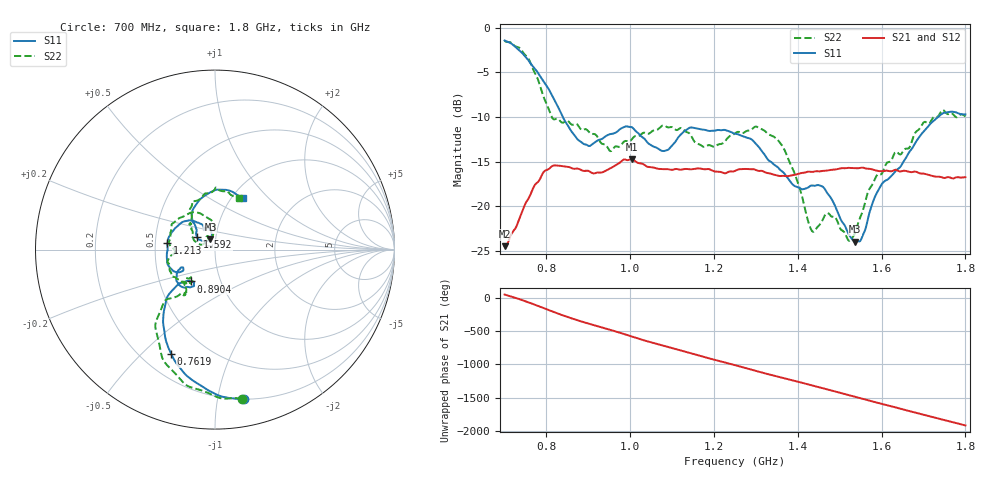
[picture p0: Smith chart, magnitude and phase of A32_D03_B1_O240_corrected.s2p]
! Created with skrf 1.9.0 (http://scikit-rf.org).
# Hz S RI R 50.0
!freq ReS11 ImS11 ReS21 ImS21 ReS12 ImS12 ReS22 ImS22
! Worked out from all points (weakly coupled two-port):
!   1601 points, 700 MHz to 1.8 GHz, reference 50 ohm
!   highest |S21| = -14.73 dB at 1.003 GHz (marker M1); lowest = -24.5 dB at 701.4 MHz (marker M2)
!   lowest |S11| = -24.0 dB at 1.536 GHz (marker M3), VSWR 1.13, Z = 47.2 + j5.49 ohm
!   |S11| at or under -10 dB: 839 MHz to 1.734 GHz (895.4 MHz wide, 69.6 % of centre)
!   |S22| runs from -23.9 to -1.5 dB; largest |S21 - S12| = 0.0035
!   S11 on the Smith chart (normalised r, x): 700 MHz: 0.20, -1.19; 761.9 MHz: 0.32, -0.62; 890.4 MHz: 0.72, -0.27; 1.213 GHz: 0.58, +0.04; 1.592 GHz: 0.81, +0.12; 1.8 GHz: 1.12, +0.72
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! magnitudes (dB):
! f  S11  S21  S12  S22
! 700 MHz  -1.4  -24.5  -24.2  -1.5
! 701.4 MHz  -1.5  -24.5  -24.1  -1.5
! 761.9 MHz  -4.0  -18.7  -18.6  -3.9
! 814.1 MHz  -7.7  -15.5  -15.5  -10.1
! 883.6 MHz  -12.8  -16.0  -15.8  -11.4
! 890.4 MHz  -13.1  -16.0  -16.0  -11.4
! 952.3 MHz  -11.9  -15.8  -15.8  -13.8
! 1.003 GHz  -11.1  -14.7  -14.9  -12.5
! 1.067 GHz  -13.6  -15.8  -15.7  -11.3
! 1.143 GHz  -11.2  -15.9  -15.8  -11.9
! 1.213 GHz  -11.5  -16.1  -16.1  -13.0
! 1.25 GHz  -11.9  -16.0  -16.0  -11.8
! 1.356 GHz  -15.8  -16.6  -16.5  -12.8
! 1.434 GHz  -17.7  -16.2  -16.1  -22.8
! 1.471 GHz  -18.6  -16.0  -16.0  -20.8
! 1.522 GHz  -23.2  -15.7  -15.7  -23.8
! 1.536 GHz  -24.0  -15.7  -15.7  -23.0
! 1.555 GHz  -23.3  -15.7  -15.7  -20.6
! 1.592 GHz  -18.2  -16.0  -16.0  -16.4
! 1.617 GHz  -16.9  -16.0  -16.0  -15.1
! 1.737 GHz  -9.9  -16.7  -16.7  -9.8
! 1.8 GHz  -9.7  -16.7  -16.7  -9.9
